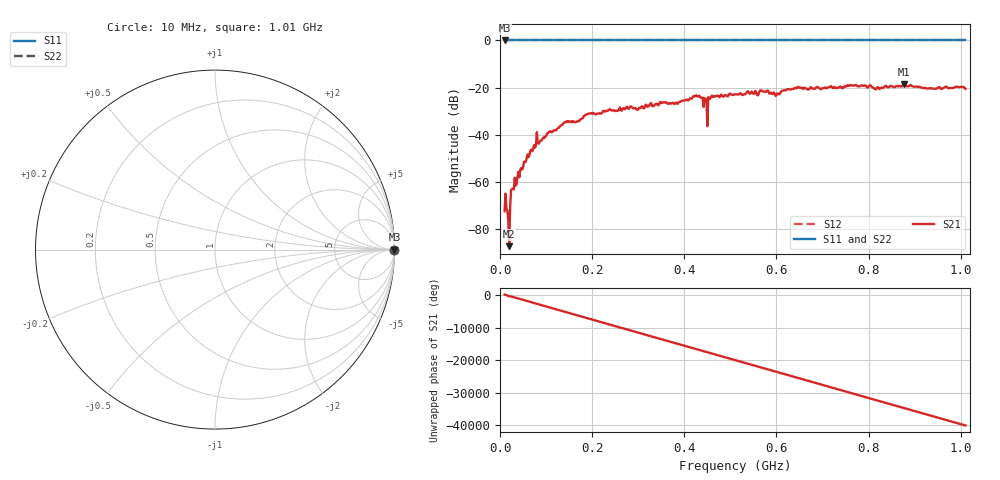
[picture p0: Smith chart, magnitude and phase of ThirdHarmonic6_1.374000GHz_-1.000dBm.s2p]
! 8/16/2025 3:35:03 PM
! C:\ANRITSUVNA\TEMP\TEMP.S2P
! CHANNEL.1
! TR.MEASUREMENT
! RAW.DATA
! RF.CORRECTION.OFF
! AVERAGING.OFF
! IF.BANDWIDTH: 5KHZ
! SWEEPTYPE:  FREQ.SWEEP(Linear)
! Reference Plane Port Info
! PORT:  PORT1  PORT2
! DISTANCE:  0  m  0  m
! TIME:  0  s  0  s
! PHASE.OFFSET:  0  deg.  0  deg.
! LOSS:  0  dB  0  dB
! REF.LOSS:  0  dB  0  dB
! REF.FREQ:  0  Hz  0  Hz
! Power Info
! POWER:  -20  dBm  -20  dBm
! EFF.POWER:  -20  dBm  -20  dBm
! SOURCE.ATTEN:  0  dB  0  dB
! TEST.ATTEN:  0  dB  0  dB
# GHZ S RI R 50.0
! FREQ.GHZ  S11RE  S11IM  S21RE  S21IM  S12RE  S12IM  S22RE  S22IM
!; PortSelection: Port_12
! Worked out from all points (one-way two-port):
!   501 points, 10 MHz to 1.01 GHz, reference 50 ohm
!   highest |S21| = -18.60 dB at 876 MHz (marker M1); lowest = -87.2 dB at 20 MHz (marker M2)
!   lowest |S11| = 0.0 dB at 10 MHz (marker M3)
!   |S11| at or under -10 dB: nowhere
!   |S22| runs from 0.0 to 0.0 dB; largest |S21 - S12| = 1.1
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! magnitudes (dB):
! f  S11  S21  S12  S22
! 10 MHz  0.0  -72.4  0.0  0.0
! 18 MHz  0.0  -76.2  0.0  0.0
! 20 MHz  0.0  -87.2  0.0  0.0
! 28 MHz  0.0  -62.8  0.0  0.0
! 78 MHz  0.0  -44.5  0.0  0.0
! 142 MHz  0.0  -34.7  0.0  0.0
! 178 MHz  0.0  -33.1  0.0  0.0
! 194 MHz  0.0  -31.0  0.0  0.0
! 344 MHz  0.0  -27.5  0.0  0.0
! 428 MHz  0.0  -23.7  0.0  0.0
! 444 MHz  0.0  -24.5  0.0  0.0
! 446 MHz  0.0  -24.8  0.0  0.0
! 454 MHz  0.0  -24.6  0.0  0.0
! 456 MHz  0.0  -24.7  0.0  0.0
! 510 MHz  0.0  -22.8  0.0  0.0
! 568 MHz  0.0  -21.3  0.0  0.0
! 602 MHz  0.0  -22.5  0.0  0.0
! 644 MHz  0.0  -20.3  0.0  0.0
! 678 MHz  0.0  -20.4  0.0  0.0
! 844 MHz  0.0  -19.7  0.0  0.0
! 876 MHz  0.0  -18.6  0.0  0.0
! 1.01 GHz  0.0  -20.5  0.0  0.0
